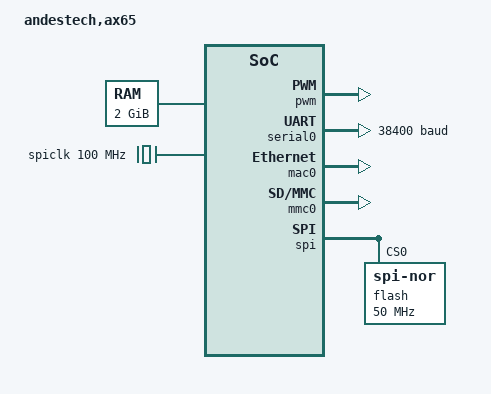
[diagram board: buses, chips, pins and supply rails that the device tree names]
/dts-v1/;

/ {
	#address-cells = <2>;
	#size-cells = <2>;
	compatible = "andestech,ae350";
	model = "andestech,ax65";
	serial-number = "7066729052";
	aliases {
		uart0 = &serial0;
		spi0 = &spi;
	};

	chosen {
		bootargs = "console=ttyS0,38400n8 debug loglevel=8 earlycon=sbi initcall_debug";
		stdout-path = "uart0:38400n8";
	};
	cpus {
		#address-cells = <1>;
		#size-cells = <0>;
		timebase-frequency = <60000000>;
		CPU0: cpu@0 {
			device_type = "cpu";
			reg = <0>;
			status = "okay";
			compatible = "riscv";
			riscv,isa = "rv64imafdc_zba_zbb_zbc_zbkb_zbkc_zbkx_zbs_zicbom_zkn_zknd_zkne_zknh_zks_zksed_zksh_zkt_smaia_smepmp_smstateen_ssaia_sscofpmf_svinval_svnapot_svpbmt_xandes";
			riscv,priv-major = <1>;
			riscv,priv-minor = <10>;
			riscv,cbom-block-size = <64>;
			mmu-type = "riscv,sv48";
			clock-frequency = <60000000>;
			i-cache-size = <0x10000>;
			i-cache-sets = <256>;
			i-cache-line-size = <64>;
			i-cache-block-size = <64>;
			d-cache-size = <0x10000>;
			d-cache-sets = <256>;
			d-cache-line-size = <64>;
			d-cache-block-size = <64>;
			next-level-cache = <&L2>;
			CPU0_intc: interrupt-controller {
				#address-cells = <2>;
				#interrupt-cells = <1>;
				interrupt-controller;
				compatible = "riscv,cpu-intc";
			};
		};
	};
	L2: l2-cache@e0500000 {
		compatible = "cache";
		cache-level = <2>;
		cache-size = <0x200000>;
		reg = <0x00000000 0xe0500000 0x00000000 0x00010000>;
		andes,inst-prefetch = <3>;
		andes,data-prefetch = <3>;
		// The value format is <XRAMOCTL XRAMICTL>
		andes,tag-ram-ctl = <0 0>;
		andes,data-ram-ctl = <0 0>;
	};
	memory@0 {
		reg = <0x00000000 0x00000000 0x00000000 0x80000000>;
		device_type = "memory";
	};
	soc {
		#address-cells = <2>;
		#size-cells = <2>;
		compatible = "andestech,riscv-ae350-soc", "simple-bus";
		ranges;

		//APLIC domains forwarding interrupts as MSIs
		aplic_m: interrupt-controller@e4400000 {
			#address-cells = <2>;
			compatible = "riscv,aplic";
			msi-parent = <&imsic_mlevel>;
			reg = <0x0 0xe4400000 0x0 0x8000>;
			interrupt-controller;
			#interrupt-cells = <2>;
			riscv,num-sources = <31>;
			riscv,children = <&aplic_s>;
			riscv,delegation = <&aplic_s 1 31>;
		};
		aplic_s: interrupt-controller@e4408000 {
			#address-cells = <2>;
			compatible =  "riscv,aplic";
			msi-parent = <&imsic_slevel>;
			reg = <0x0 0xe4408000 0x0 0x8000>;
			interrupt-controller;
			#interrupt-cells = <2>;
			riscv,num-sources = <31>;
		};

		// (Machine-level IMSIC files):
		imsic_mlevel: interrupt-controller@c4000000 {
			#address-cells = <2>;
			compatible = "riscv,imsics";
			interrupts-extended = <&CPU0_intc 11>;
			reg = <0x0 0xc4000000 0x0 0x100000>;
			interrupt-controller;
			#interrupt-cells = <0>;
			msi-controller;
			#msi-cells = <0>;
			riscv,num-ids = <63>;
		};

		//(Supervisor-level IMSIC files)
		imsic_slevel: interrupt-controller@c4100000 {
			#address-cells = <2>;
			compatible = "riscv,imsics";
			interrupts-extended = <&CPU0_intc 9>;
			reg = <0x0 0xc4100000 0x0 0x100000>; /* Group IMSICs */
			interrupt-controller;
			#interrupt-cells = <0>;
			msi-controller;
			#msi-cells = <0>;
			riscv,num-ids = <63>;
			riscv,guest-index-bits = <2>; /* GEILEN=3 */
		};
		plmt0: plmt0@e6000000 {
			compatible = "riscv,plmt0";
			reg = <0x00000000 0xe6000000 0x00000000 0x00100000>;
			interrupts-extended = < &CPU0_intc 7>;
		};
		spiclk: virt_100mhz {
			compatible = "fixed-clock";
			#clock-cells = <0>;
			clock-frequency = <100000000>;
		};
		timer0: timer@f0400000 {
			compatible = "andestech,atcpit100";
			reg = <0x00000000 0xf0400000 0x00000000 0x00001000>;
			interrupts = <3 4>;
			interrupt-parent = <&aplic_s>;
			clock-frequency = <60000000>;
		};
		pwm: pwm@f0400000 {
			compatible = "andestech,atcpit100-pwm";
			reg = <0x00000000 0xf0400000 0x00000000 0x00001000>;
			interrupts = <3 4>;
			interrupt-parent = <&aplic_s>;
			clock-frequency = <60000000>;
			pwm-cells = <2>;
		};
		wdt: wdt@f0500000 {
			compatible = "andestech,atcwdt200";
			reg = <0x00000000 0xf0500000 0x00000000 0x00001000>;
			interrupts = <3 4>;
			interrupt-parent = <&aplic_s>;
			clock-frequency = <60000000>;
		};
		serial0: serial@f0300000 {
			compatible = "andestech,uart16550", "ns16550a";
			reg = <0x00000000 0xf0300000 0x00000000 0x00001000>;
			interrupts = <9 4>;
			interrupt-parent = <&aplic_s>;
			clock-frequency = <19660800>;
			current-speed = <38400>;
			reg-shift = <2>;
			reg-offset = <32>;
			reg-io-width = <4>;
			no-loopback-test = <1>;
		};
		rtc0: rtc@f0600000 {
			compatible = "andestech,atcrtc100";
			reg = <0x00000000 0xf0600000 0x00000000 0x00001000>;
			interrupts = <1 4 2 4>;
			interrupt-parent = <&aplic_s>;
			wakeup-source;
		};
		gpio: gpio@f0700000 {
			compatible = "andestech,atcgpio100";
			reg = <0x00000000 0xf0700000 0x00000000 0x00001000>;
			interrupts = <7 4>;
			interrupt-parent = <&aplic_s>;
			wakeup-source;
		};
		mac0: mac@e0100000 {
			compatible = "andestech,atmac100";
			reg = <0x00000000 0xe0100000 0x00000000 0x00001000>;
			interrupts = <19 4>;
			interrupt-parent = <&aplic_s>;
			dma-coherent;
		};
		smu: smu@f0100000 {
			compatible = "andestech,atcsmu";
			reg = <0x00000000 0xf0100000 0x00000000 0x00001000>;
		};
		mmc0: mmc@f0e00000 {
			compatible = "andestech,atfsdc010g";
			reg = <0x00000000 0xf0e00000 0x00000000 0x00001000>;
			interrupts = <18 4>;
			interrupt-parent = <&aplic_s>;
			clock-freq-min-max = <400000 100000000>;
			max-frequency = <100000000>;
			fifo-depth = <16>;
			dmas = <&dma0 9>;
			dma-names = "rxtx";
			dma-coherent;
		};
		dma0: dma@f0c00000 {
			compatible = "andestech,atcdmac300g";
			reg = <0x00000000 0xf0c00000 0x00000000 0x00001000>;
			interrupts = <10 4>;
			interrupt-parent = <&aplic_s>;
			dma-channels = <8>;
			#dma-cells = <1>;
			dma-coherent;
		};
		pmu: pmu {
			compatible = "riscv,andes-pmu";
			device_type = "pmu";
		};
		spi: spi@f0b00000 {
			compatible = "andestech,atcspi200";
			reg = <0x00000000 0xf0b00000 0x00000000 0x00001000>;
			interrupts = <4 4>;
			interrupt-parent = <&aplic_s>;
			#address-cells = <1>;
			#size-cells = <0>;
			num-cs = <1>;
			clocks = <&spiclk>;
			flash@0 {
				compatible = "jedec,spi-nor";
				reg = <0x00000000>;
				spi-max-frequency = <50000000>;
				spi-cpol;
				spi-cpha;
			};
		};
		es100: es100@f0900000 {
			compatible = "andestech,es100";
			reg = <0x00000000 0xf0900000 0x00000000 0x00001000>;
		};
	};
};

